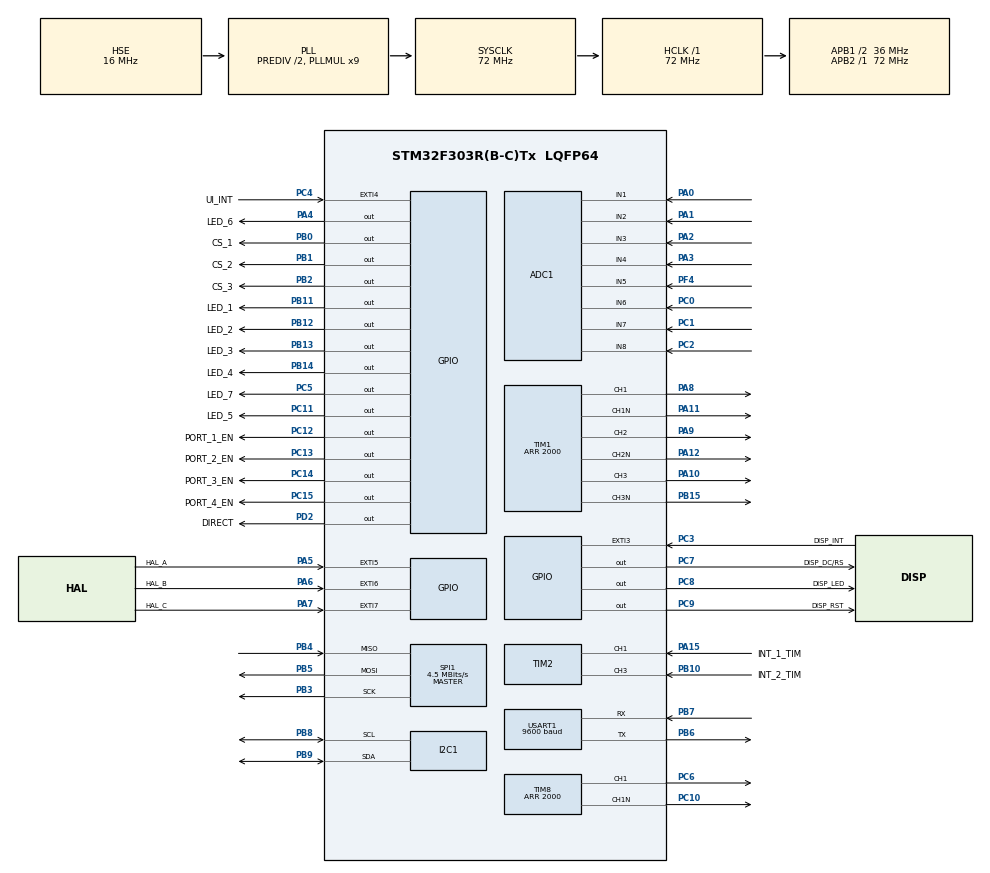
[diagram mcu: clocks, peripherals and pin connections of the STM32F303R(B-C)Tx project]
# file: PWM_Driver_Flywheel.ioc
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ADC1.Channel-0\#ChannelRegularConversion=ADC_CHANNEL_1
ADC1.NbrOfConversionFlag=1
ADC1.Offset-0\#ChannelRegularConversion=0
ADC1.OffsetNumber-0\#ChannelRegularConversion=ADC_OFFSET_NONE
ADC1.Rank-0\#ChannelRegularConversion=1
ADC1.SamplingTime-0\#ChannelRegularConversion=ADC_SAMPLETIME_1CYCLE_5
ADC1.master=1
Dma.Request0=USART1_RX
Dma.Request1=USART1_TX
Dma.USART1_RX.0.Direction=DMA_PERIPH_TO_MEMORY
Dma.USART1_RX.0.Instance=DMA1_Channel5
Dma.USART1_RX.0.MemDataAlignment=DMA_MDATAALIGN_BYTE
Dma.USART1_RX.0.MemInc=DMA_MINC_ENABLE
Dma.USART1_RX.0.Mode=DMA_NORMAL
Dma.USART1_RX.0.PeriphDataAlignment=DMA_PDATAALIGN_BYTE
Dma.USART1_RX.0.PeriphInc=DMA_PINC_DISABLE
Dma.USART1_RX.0.Priority=DMA_PRIORITY_LOW
Dma.USART1_TX.1.Direction=DMA_MEMORY_TO_PERIPH
Dma.USART1_TX.1.Instance=DMA1_Channel4
Dma.USART1_TX.1.MemDataAlignment=DMA_MDATAALIGN_BYTE
Dma.USART1_TX.1.MemInc=DMA_MINC_ENABLE
Dma.USART1_TX.1.Mode=DMA_NORMAL
Dma.USART1_TX.1.PeriphDataAlignment=DMA_PDATAALIGN_BYTE
Dma.USART1_TX.1.PeriphInc=DMA_PINC_DISABLE
Dma.USART1_TX.1.Priority=DMA_PRIORITY_LOW
I2C1.Timing=0x00201D2B
Mcu.Family=STM32F3
Mcu.Name=STM32F303R(B-C)Tx
Mcu.Package=LQFP64
NVIC.DMA1_Channel4_IRQn=true\:0\:0\:false\:false\:true\:false\:true\:true
NVIC.DMA1_Channel5_IRQn=true\:0\:0\:false\:false\:true\:false\:true\:true
NVIC.PriorityGroup=NVIC_PRIORITYGROUP_4
NVIC.TIM1_BRK_TIM15_IRQn=true\:0\:0\:false\:false\:true\:true\:true\:true
NVIC.TIM2_IRQn=true\:0\:0\:false\:false\:true\:true\:true\:true
NVIC.USART1_IRQn=true\:0\:0\:false\:false\:true\:true\:true\:true
PA0.Mode=IN1-Single-Ended
PA0.Signal=ADC1_IN1
PA1.Mode=IN2-Single-Ended
PA1.Signal=ADC1_IN2
PA10.Signal=S_TIM1_CH3
PA11.Mode=PWM Generation1 CH1 CH1N
PA11.Signal=TIM1_CH1N
PA12.Mode=PWM Generation2 CH2 CH2N
PA12.Signal=TIM1_CH2N
PA13.Mode=Serial_Wire
PA13.Signal=SYS_JTMS-SWDIO
PA14.Mode=Serial_Wire
PA14.Signal=SYS_JTCK-SWCLK
PA15.GPIO_Label=INT_1_TIM
PA15.Signal=S_TIM2_CH1_ETR
PA2.Mode=IN3-Single-Ended
PA2.Signal=ADC1_IN3
PA3.Mode=IN4-Single-Ended
PA3.Signal=ADC1_IN4
PA4.GPIO_Label=LED_6
PA4.Signal=GPIO_Output
PA5.GPIO_Label=HAL_A
PA5.Signal=GPXTI5
PA6.GPIO_Label=HAL_B
PA6.Signal=GPXTI6
PA7.GPIO_Label=HAL_C
PA7.Signal=GPXTI7
PA8.Signal=S_TIM1_CH1
PA9.Signal=S_TIM1_CH2
PB0.GPIO_Label=CS_1
PB0.Signal=GPIO_Output
PB1.GPIO_Label=CS_2
PB1.Signal=GPIO_Output
PB10.GPIO_Label=INT_2_TIM
PB10.Signal=S_TIM2_CH3
PB11.GPIO_Label=LED_1
PB11.Signal=GPIO_Output
PB12.GPIO_Label=LED_2
PB12.Signal=GPIO_Output
PB13.GPIO_Label=LED_3
PB13.Signal=GPIO_Output
PB14.GPIO_Label=LED_4
PB14.Signal=GPIO_Output
PB15.Mode=PWM Generation3 CH3 CH3N
PB15.Signal=TIM1_CH3N
PB2.GPIO_Label=CS_3
PB2.Signal=GPIO_Output
PB3.Mode=Full_Duplex_Master
PB3.Signal=SPI1_SCK
PB4.Mode=Full_Duplex_Master
PB4.Signal=SPI1_MISO
PB5.Mode=Full_Duplex_Master
PB5.Signal=SPI1_MOSI
PB6.Mode=Asynchronous
PB6.Signal=USART1_TX
PB7.Mode=Asynchronous
PB7.Signal=USART1_RX
PB8.Mode=I2C
PB8.Signal=I2C1_SCL
PB9.Mode=I2C
PB9.Signal=I2C1_SDA
PC0.Signal=ADCx_IN6
PC1.Signal=ADCx_IN7
PC10.Mode=PWM Generation1 CH1 CH1N
PC10.Signal=TIM8_CH1N
PC11.GPIO_Label=LED_5
PC11.Signal=GPIO_Output
PC12.GPIO_Label=PORT_1_EN
PC12.Signal=GPIO_Output
PC13.GPIO_Label=PORT_2_EN
PC13.Signal=GPIO_Output
PC14-OSC32_IN.GPIO_Label=PORT_3_EN
PC14-OSC32_IN.Signal=GPIO_Output
PC15-OSC32_OUT.GPIO_Label=PORT_4_EN
PC15-OSC32_OUT.Signal=GPIO_Output
PC2.Signal=ADCx_IN8
PC3.GPIO_Label=DISP_INT
PC3.Signal=GPXTI3
PC4.GPIO_Label=UI_INT
PC4.Signal=GPXTI4
PC5.GPIO_Label=LED_7
PC5.Signal=GPIO_Output
PC6.Signal=S_TIM8_CH1
PC7.GPIO_Label=DISP_DC/RS
PC7.Signal=GPIO_Output
PC8.GPIO_Label=DISP_LED
PC8.Signal=GPIO_Output
PC9.GPIO_Label=DISP_RST
PC9.Signal=GPIO_Output
PD2.GPIO_Label=DIRECT
PD2.Signal=GPIO_Output
PF0-OSC_IN.Mode=HSE-External-Oscillator
PF0-OSC_IN.Signal=RCC_OSC_IN
PF1-OSC_OUT.Mode=HSE-External-Oscillator
PF1-OSC_OUT.Signal=RCC_OSC_OUT
PF4.Mode=IN5-Single-Ended
PF4.Signal=ADC1_IN5
ProjectManager.HeapSize=0x200
ProjectManager.StackSize=0x400
ProjectManager.TargetToolchain=STM32CubeIDE
RCC.AHBFreq_Value=72000000
RCC.APB1CLKDivider=RCC_HCLK_DIV2
RCC.APB1Freq_Value=36000000
RCC.APB1TimFreq_Value=72000000
RCC.APB2Freq_Value=72000000
RCC.APB2TimFreq_Value=72000000
RCC.CortexFreq_Value=72000000
RCC.HCLKFreq_Value=72000000
RCC.HSE_VALUE=16000000
RCC.HSI_VALUE=8000000
RCC.LSE_VALUE=32768
RCC.PLLMUL=RCC_PLL_MUL9
RCC.PLLSourceVirtual=RCC_PLLSOURCE_HSE
RCC.RCC_PLLsource_Clock_Source_FROM_HSE=RCC_HSE_PREDIV_DIV2
RCC.SYSCLKFreq_VALUE=72000000
RCC.SYSCLKSourceVirtual=RCC_SYSCLKSOURCE_PLLCLK
RCC.USBFreq_Value=72000000
SH.ADCx_IN6.0=ADC1_IN6,IN6-Single-Ended
SH.ADCx_IN7.0=ADC1_IN7,IN7-Single-Ended
SH.ADCx_IN8.0=ADC1_IN8,IN8-Single-Ended
SH.S_TIM1_CH1.0=TIM1_CH1,PWM Generation1 CH1 CH1N
SH.S_TIM1_CH2.0=TIM1_CH2,PWM Generation2 CH2 CH2N
SH.S_TIM1_CH3.0=TIM1_CH3,PWM Generation3 CH3 CH3N
SH.S_TIM2_CH1_ETR.0=TIM2_CH1,Input_Capture1_from_TI1
SH.S_TIM2_CH3.0=TIM2_CH3,Input_Capture3_from_TI3
SH.S_TIM8_CH1.0=TIM8_CH1,PWM Generation1 CH1 CH1N
SPI1.BaudRatePrescaler=SPI_BAUDRATEPRESCALER_16
SPI1.CalculateBaudRate=4.5 MBits/s
SPI1.Direction=SPI_DIRECTION_2LINES
SPI1.Mode=SPI_MODE_MASTER
SPI1.VirtualType=VM_MASTER
TIM1.AutoReloadPreload=TIM_AUTORELOAD_PRELOAD_ENABLE
TIM1.Channel-PWM\ Generation1\ CH1\ CH1N=TIM_CHANNEL_1
TIM1.Channel-PWM\ Generation2\ CH2\ CH2N=TIM_CHANNEL_2
TIM1.Channel-PWM\ Generation3\ CH3\ CH3N=TIM_CHANNEL_3
TIM1.DeadTime=150
TIM1.OCNIdleState_1=TIM_OCNIDLESTATE_SET
TIM1.OCNIdleState_2=TIM_OCNIDLESTATE_SET
TIM1.Period=2000
TIM1.Pulse-PWM\ Generation1\ CH1\ CH1N=1000
TIM1.Pulse-PWM\ Generation2\ CH2\ CH2N=1000
TIM1.Pulse-PWM\ Generation3\ CH3\ CH3N=1000
TIM2.Channel-Input_Capture1_from_TI1=TIM_CHANNEL_1
TIM2.Channel-Input_Capture2_from_TI1_63=TIM_CHANNEL_2
TIM2.Channel-Input_Capture3_from_TI3=TIM_CHANNEL_3
TIM2.Channel-Input_Capture4_from_TI3_63=TIM_CHANNEL_4
TIM2.ICFilter_CH1=15
TIM2.ICFilter_CH3=15
TIM2.ICPolarity_CH1=TIM_INPUTCHANNELPOLARITY_FALLING
TIM2.ICPolarity_CH3=TIM_INPUTCHANNELPOLARITY_FALLING
TIM8.Channel-PWM\ Generation1\ CH1\ CH1N=TIM_CHANNEL_1
TIM8.Period=2000
TIM8.Pulse-PWM\ Generation1\ CH1\ CH1N=1000
USART1.BaudRate=9600
USART1.VirtualMode-Asynchronous=VM_ASYNC
VP_TIM15_VS_ClockSourceINT.Mode=Internal
VP_TIM1_VS_ClockSourceINT.Mode=Internal
VP_TIM2_VS_ClockSourceINT.Mode=Internal
VP_TIM2_VS_indirect_ch1.Mode=Input_Capture2_from_TI1_63
VP_TIM2_VS_indirect_ch3.Mode=Input_Capture4_from_TI3_63
VP_TIM3_VS_ClockSourceINT.Mode=Internal
VP_TIM8_VS_ClockSourceINT.Mode=Internal
board=custom

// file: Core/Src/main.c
/* USER CODE BEGIN Header */
/**
  ******************************************************************************
  * @file           : main.c
  * @brief          : Main program body
  ******************************************************************************
  * @attention
  *
  * Copyright (c) 2024 STMicroelectronics.
  * All rights reserved.
  *
  * This software is licensed under terms that can be found in the LICENSE file
  * in the root directory of this software component.
  * If no LICENSE file comes with this software, it is provided AS-IS.
  *
  ******************************************************************************
  */
/* USER CODE END Header */
#include "main.h"

/* USER CODE BEGIN Includes */
#include "stdbool.h"
#include "modbusDevice.h"
#include "modbusSlave.h"
#include "Registers_handler.h"
/* USER CODE END Includes */

/* USER CODE BEGIN PTD */

#define RX_BUFFER_SIZE 64
#define USART_TIMEOUT 900 // Таймаут в миллисекундах
#define ROTATE_TIME 2000
uint32_t lastActivityTime = 0;
 bool usartBusy = false;
 uint8_t rxFrame[64];
 uint8_t txFrame[255];
 uint8_t SLAVE_ID=2;
 uint16_t data_reg[16]={0,};
 uint16_t rcv_data_reg[16]={0,};
 uint8_t dicreteInputs=0;
 uint8_t coils=0;
 uint16_t timer1Freq=0;
 uint16_t timer3Freq=0;
 bool pwm_status=0;
 bool dataStates[16];
 bool coil_1=0;
 bool coil_2=0;
 bool coil_3=0;
 bool coil_4=0;

 uint32_t timerClockFreq = 72000000;
 uint32_t period=0;
 uint16_t f=0;
 uint32_t rpm=0;
 uint32_t moove=0;

/* USER CODE END PTD */

ADC_HandleTypeDef hadc1;

I2C_HandleTypeDef hi2c1;

SPI_HandleTypeDef hspi1;

TIM_HandleTypeDef htim1;
TIM_HandleTypeDef htim2;
TIM_HandleTypeDef htim3;
TIM_HandleTypeDef htim8;
TIM_HandleTypeDef htim15;

UART_HandleTypeDef huart1;
DMA_HandleTypeDef hdma_usart1_rx;
DMA_HandleTypeDef hdma_usart1_tx;

void SystemClock_Config(void);
static void MX_GPIO_Init(void);
static void MX_DMA_Init(void);
static void MX_TIM1_Init(void);
static void MX_TIM3_Init(void);
static void MX_TIM8_Init(void);
static void MX_TIM2_Init(void);
static void MX_USART1_UART_Init(void);
static void MX_I2C1_Init(void);
static void MX_ADC1_Init(void);
static void MX_SPI1_Init(void);
static void MX_TIM15_Init(void);
/* USER CODE BEGIN PFP */
void Check_USART1_Timeout(void);
void Reset_USART1(void);
uint16_t calculateTimerFrequency(TIM_TypeDef *TIMx, uint32_t timerClockFreq);
/* USER CODE END PFP */

int main(void)
{

  /* MCU Configuration--------------------------------------------------------*/

  /* Reset of all peripherals, Initializes the Flash interface and the Systick. */
  HAL_Init();

  /* Configure the system clock */
  SystemClock_Config();

  /* Initialize all configured peripherals */
  MX_GPIO_Init();
  MX_DMA_Init();
  MX_TIM1_Init();
  MX_TIM3_Init();
  MX_TIM8_Init();
  MX_TIM2_Init();
  MX_USART1_UART_Init();
  MX_I2C1_Init();
  MX_ADC1_Init();
  MX_SPI1_Init();
  MX_TIM15_Init();
  /* USER CODE BEGIN 2 */
   LED_1_ON;
   RX_2;

   /*
   HAL_TIM_PWM_Start(&htim1, TIM_CHANNEL_1);
   HAL_TIMEx_PWMN_Start(&htim1, TIM_CHANNEL_1);
   HAL_TIM_PWM_Start(&htim1, TIM_CHANNEL_2);
   HAL_TIMEx_PWMN_Start(&htim1, TIM_CHANNEL_2);
   HAL_TIM_PWM_Start(&htim1, TIM_CHANNEL_3);
   HAL_TIMEx_PWMN_Start(&htim1, TIM_CHANNEL_3);
   HAL_TIM_PWM_Start(&htim8, TIM_CHANNEL_1);
   HAL_TIMEx_PWMN_Start(&htim8, TIM_CHANNEL_1);
   */

   TIM1->ARR=2000;
   TIM8->ARR=2000;

   DRV_1_ON;
   DRV_2_ON;
   DRV_3_ON;
   DRV_4_ON;
   HAL_TIM_Base_Start_IT(&htim2);
   HAL_TIM_IC_Start_IT(&htim2, TIM_CHANNEL_1);
   HAL_TIM_IC_Start_IT(&htim2, TIM_CHANNEL_2);
   HAL_TIM_IC_Start_IT(&htim2, TIM_CHANNEL_3);
   HAL_TIM_IC_Start_IT(&htim2, TIM_CHANNEL_4);
   HAL_UARTEx_ReceiveToIdle_DMA(&huart1, rxFrame, RX_BUFFER_SIZE);
     __HAL_DMA_DISABLE_IT(&hdma_usart1_rx, DMA_IT_HT);
     HAL_TIM_Base_Start_IT(&htim15);
  /* USER CODE END 2 */

  /* Infinite loop */
  /* USER CODE BEGIN WHILE */
  while (1)
  {
	    TIM1->CCR1=rcv_data_reg[0];
	  	TIM1->CCR2=rcv_data_reg[1];
	  	TIM1->CCR3=rcv_data_reg[2];
	  	TIM8->CCR1=rcv_data_reg[3];
	  	TIM1->ARR= rcv_data_reg[4];
	  	TIM8->ARR= rcv_data_reg[4];
	    Check_USART1_Timeout();
	    data_reg[0]=calculateTimerFrequency(TIM1, timerClockFreq);
	    data_reg[1]=calculateTimerFrequency(TIM8, timerClockFreq);
	    data_reg[2]=rpm;

	    coil_1= (rcv_data_reg[7]>>1)&0x01;
	    coil_2= (rcv_data_reg[7]>>2)&0x01;
	    coil_3= (rcv_data_reg[7]>>3)&0x01;
	    coil_4= (rcv_data_reg[7]>>4)&0x01;
	    if(coil_1){LED_4_ON;}
	    if(!coil_1){LED_4_OFF;}
	    if(coil_2){LED_5_ON;}
	   	if(!coil_2){LED_5_OFF;}
	   	if(coil_3){LED_6_ON;}
	    if(!coil_3){LED_6_OFF;}
	    if(coil_4){LED_7_ON;}
	    if(!coil_4){LED_7_OFF;}

if((HAL_GetTick()-moove)>=ROTATE_TIME){rpm=0;}
    /* USER CODE END WHILE */

  }
}

void SystemClock_Config(void)
{
  RCC_OscInitTypeDef RCC_OscInitStruct = {0};
  RCC_ClkInitTypeDef RCC_ClkInitStruct = {0};
  RCC_PeriphCLKInitTypeDef PeriphClkInit = {0};

  /** Initializes the RCC Oscillators according to the specified parameters
  * in the RCC_OscInitTypeDef structure.
  */
  RCC_OscInitStruct.OscillatorType = RCC_OSCILLATORTYPE_HSI|RCC_OSCILLATORTYPE_HSE;
  RCC_OscInitStruct.HSEState = RCC_HSE_ON;
  RCC_OscInitStruct.HSEPredivValue = RCC_HSE_PREDIV_DIV2;
  RCC_OscInitStruct.HSIState = RCC_HSI_ON;
  RCC_OscInitStruct.HSICalibrationValue = RCC_HSICALIBRATION_DEFAULT;
  RCC_OscInitStruct.PLL.PLLState = RCC_PLL_ON;
  RCC_OscInitStruct.PLL.PLLSource = RCC_PLLSOURCE_HSE;
  RCC_OscInitStruct.PLL.PLLMUL = RCC_PLL_MUL9;
  if (HAL_RCC_OscConfig(&RCC_OscInitStruct) != HAL_OK)
  {
    Error_Handler();
  }

  /** Initializes the CPU, AHB and APB buses clocks
  */
  RCC_ClkInitStruct.ClockType = RCC_CLOCKTYPE_HCLK|RCC_CLOCKTYPE_SYSCLK
                              |RCC_CLOCKTYPE_PCLK1|RCC_CLOCKTYPE_PCLK2;
  RCC_ClkInitStruct.SYSCLKSource = RCC_SYSCLKSOURCE_PLLCLK;
  RCC_ClkInitStruct.AHBCLKDivider = RCC_SYSCLK_DIV1;
  RCC_ClkInitStruct.APB1CLKDivider = RCC_HCLK_DIV2;
  RCC_ClkInitStruct.APB2CLKDivider = RCC_HCLK_DIV1;

  if (HAL_RCC_ClockConfig(&RCC_ClkInitStruct, FLASH_LATENCY_2) != HAL_OK)
  {
    Error_Handler();
  }
  PeriphClkInit.PeriphClockSelection = RCC_PERIPHCLK_USART1|RCC_PERIPHCLK_I2C1
                              |RCC_PERIPHCLK_TIM1|RCC_PERIPHCLK_TIM8
                              |RCC_PERIPHCLK_ADC12;
  PeriphClkInit.Usart1ClockSelection = RCC_USART1CLKSOURCE_PCLK2;
  PeriphClkInit.Adc12ClockSelection = RCC_ADC12PLLCLK_DIV1;
  PeriphClkInit.I2c1ClockSelection = RCC_I2C1CLKSOURCE_HSI;
  PeriphClkInit.Tim1ClockSelection = RCC_TIM1CLK_HCLK;
  PeriphClkInit.Tim8ClockSelection = RCC_TIM8CLK_HCLK;
  if (HAL_RCCEx_PeriphCLKConfig(&PeriphClkInit) != HAL_OK)
  {
    Error_Handler();
  }
}

static void MX_ADC1_Init(void)
{

  ADC_MultiModeTypeDef multimode = {0};
  ADC_ChannelConfTypeDef sConfig = {0};

  /** Common config
  */
  hadc1.Instance = ADC1;
  hadc1.Init.ClockPrescaler = ADC_CLOCK_ASYNC_DIV1;
  hadc1.Init.Resolution = ADC_RESOLUTION_12B;
  hadc1.Init.ScanConvMode = ADC_SCAN_DISABLE;
  hadc1.Init.ContinuousConvMode = DISABLE;
  hadc1.Init.DiscontinuousConvMode = DISABLE;
  hadc1.Init.ExternalTrigConvEdge = ADC_EXTERNALTRIGCONVEDGE_NONE;
  hadc1.Init.ExternalTrigConv = ADC_SOFTWARE_START;
  hadc1.Init.DataAlign = ADC_DATAALIGN_RIGHT;
  hadc1.Init.NbrOfConversion = 1;
  hadc1.Init.DMAContinuousRequests = DISABLE;
  hadc1.Init.EOCSelection = ADC_EOC_SINGLE_CONV;
  hadc1.Init.LowPowerAutoWait = DISABLE;
  hadc1.Init.Overrun = ADC_OVR_DATA_OVERWRITTEN;
  if (HAL_ADC_Init(&hadc1) != HAL_OK)
  {
    Error_Handler();
  }

  /** Configure the ADC multi-mode
  */
  multimode.Mode = ADC_MODE_INDEPENDENT;
  if (HAL_ADCEx_MultiModeConfigChannel(&hadc1, &multimode) != HAL_OK)
  {
    Error_Handler();
  }

  /** Configure Regular Channel
  */
  sConfig.Channel = ADC_CHANNEL_1;
  sConfig.Rank = ADC_REGULAR_RANK_1;
  sConfig.SingleDiff = ADC_SINGLE_ENDED;
  sConfig.SamplingTime = ADC_SAMPLETIME_1CYCLE_5;
  sConfig.OffsetNumber = ADC_OFFSET_NONE;
  sConfig.Offset = 0;
  if (HAL_ADC_ConfigChannel(&hadc1, &sConfig) != HAL_OK)
  {
    Error_Handler();
  }

}

static void MX_I2C1_Init(void)
{

  hi2c1.Instance = I2C1;
  hi2c1.Init.Timing = 0x00201D2B;
  hi2c1.Init.OwnAddress1 = 0;
  hi2c1.Init.AddressingMode = I2C_ADDRESSINGMODE_7BIT;
  hi2c1.Init.DualAddressMode = I2C_DUALADDRESS_DISABLE;
  hi2c1.Init.OwnAddress2 = 0;
  hi2c1.Init.OwnAddress2Masks = I2C_OA2_NOMASK;
  hi2c1.Init.GeneralCallMode = I2C_GENERALCALL_DISABLE;
  hi2c1.Init.NoStretchMode = I2C_NOSTRETCH_DISABLE;
  if (HAL_I2C_Init(&hi2c1) != HAL_OK)
  {
    Error_Handler();
  }

  /** Configure Analogue filter
  */
  if (HAL_I2CEx_ConfigAnalogFilter(&hi2c1, I2C_ANALOGFILTER_ENABLE) != HAL_OK)
  {
    Error_Handler();
  }

  /** Configure Digital filter
  */
  if (HAL_I2CEx_ConfigDigitalFilter(&hi2c1, 0) != HAL_OK)
  {
    Error_Handler();
  }

}

static void MX_SPI1_Init(void)
{

  /* SPI1 parameter configuration*/
  hspi1.Instance = SPI1;
  hspi1.Init.Mode = SPI_MODE_MASTER;
  hspi1.Init.Direction = SPI_DIRECTION_2LINES;
  hspi1.Init.DataSize = SPI_DATASIZE_4BIT;
  hspi1.Init.CLKPolarity = SPI_POLARITY_LOW;
  hspi1.Init.CLKPhase = SPI_PHASE_1EDGE;
  hspi1.Init.NSS = SPI_NSS_SOFT;
  hspi1.Init.BaudRatePrescaler = SPI_BAUDRATEPRESCALER_16;
  hspi1.Init.FirstBit = SPI_FIRSTBIT_MSB;
  hspi1.Init.TIMode = SPI_TIMODE_DISABLE;
  hspi1.Init.CRCCalculation = SPI_CRCCALCULATION_DISABLE;
  hspi1.Init.CRCPolynomial = 7;
  hspi1.Init.CRCLength = SPI_CRC_LENGTH_DATASIZE;
  hspi1.Init.NSSPMode = SPI_NSS_PULSE_ENABLE;
  if (HAL_SPI_Init(&hspi1) != HAL_OK)
  {
    Error_Handler();
  }

}

static void MX_TIM1_Init(void)
{

  TIM_ClockConfigTypeDef sClockSourceConfig = {0};
  TIM_MasterConfigTypeDef sMasterConfig = {0};
  TIM_OC_InitTypeDef sConfigOC = {0};
  TIM_BreakDeadTimeConfigTypeDef sBreakDeadTimeConfig = {0};

  htim1.Instance = TIM1;
  htim1.Init.Prescaler = 0;
  htim1.Init.CounterMode = TIM_COUNTERMODE_UP;
  htim1.Init.Period = 2000;
  htim1.Init.ClockDivision = TIM_CLOCKDIVISION_DIV1;
  htim1.Init.RepetitionCounter = 0;
  htim1.Init.AutoReloadPreload = TIM_AUTORELOAD_PRELOAD_ENABLE;
  if (HAL_TIM_Base_Init(&htim1) != HAL_OK)
  {
    Error_Handler();
  }
  sClockSourceConfig.ClockSource = TIM_CLOCKSOURCE_INTERNAL;
  if (HAL_TIM_ConfigClockSource(&htim1, &sClockSourceConfig) != HAL_OK)
  {
    Error_Handler();
  }
  if (HAL_TIM_PWM_Init(&htim1) != HAL_OK)
  {
    Error_Handler();
  }
  sMasterConfig.MasterOutputTrigger = TIM_TRGO_RESET;
  sMasterConfig.MasterOutputTrigger2 = TIM_TRGO2_RESET;
  sMasterConfig.MasterSlaveMode = TIM_MASTERSLAVEMODE_DISABLE;
  if (HAL_TIMEx_MasterConfigSynchronization(&htim1, &sMasterConfig) != HAL_OK)
  {
    Error_Handler();
  }
  sConfigOC.OCMode = TIM_OCMODE_PWM1;
  sConfigOC.Pulse = 1000;
  sConfigOC.OCPolarity = TIM_OCPOLARITY_HIGH;
  sConfigOC.OCNPolarity = TIM_OCNPOLARITY_HIGH;
  sConfigOC.OCFastMode = TIM_OCFAST_DISABLE;
  sConfigOC.OCIdleState = TIM_OCIDLESTATE_RESET;
  sConfigOC.OCNIdleState = TIM_OCNIDLESTATE_SET;
  if (HAL_TIM_PWM_ConfigChannel(&htim1, &sConfigOC, TIM_CHANNEL_1) != HAL_OK)
  {
    Error_Handler();
  }
  if (HAL_TIM_PWM_ConfigChannel(&htim1, &sConfigOC, TIM_CHANNEL_2) != HAL_OK)
  {
    Error_Handler();
  }
  sConfigOC.OCNIdleState = TIM_OCNIDLESTATE_RESET;
  if (HAL_TIM_PWM_ConfigChannel(&htim1, &sConfigOC, TIM_CHANNEL_3) != HAL_OK)
  {
    Error_Handler();
  }
  sBreakDeadTimeConfig.OffStateRunMode = TIM_OSSR_DISABLE;
  sBreakDeadTimeConfig.OffStateIDLEMode = TIM_OSSI_DISABLE;
  sBreakDeadTimeConfig.LockLevel = TIM_LOCKLEVEL_OFF;
  sBreakDeadTimeConfig.DeadTime = 150;
  sBreakDeadTimeConfig.BreakState = TIM_BREAK_DISABLE;
  sBreakDeadTimeConfig.BreakPolarity = TIM_BREAKPOLARITY_HIGH;
  sBreakDeadTimeConfig.BreakFilter = 0;
  sBreakDeadTimeConfig.Break2State = TIM_BREAK2_DISABLE;
  sBreakDeadTimeConfig.Break2Polarity = TIM_BREAK2POLARITY_HIGH;
  sBreakDeadTimeConfig.Break2Filter = 0;
  sBreakDeadTimeConfig.AutomaticOutput = TIM_AUTOMATICOUTPUT_DISABLE;
  if (HAL_TIMEx_ConfigBreakDeadTime(&htim1, &sBreakDeadTimeConfig) != HAL_OK)
  {
    Error_Handler();
  }
  HAL_TIM_MspPostInit(&htim1);

}

static void MX_TIM2_Init(void)
{

  TIM_ClockConfigTypeDef sClockSourceConfig = {0};
  TIM_MasterConfigTypeDef sMasterConfig = {0};
  TIM_IC_InitTypeDef sConfigIC = {0};

  htim2.Instance = TIM2;
  htim2.Init.Prescaler = 0;
  htim2.Init.CounterMode = TIM_COUNTERMODE_UP;
  htim2.Init.Period = 4294967295;
  htim2.Init.ClockDivision = TIM_CLOCKDIVISION_DIV1;
  htim2.Init.AutoReloadPreload = TIM_AUTORELOAD_PRELOAD_DISABLE;
  if (HAL_TIM_Base_Init(&htim2) != HAL_OK)
  {
    Error_Handler();
  }
  sClockSourceConfig.ClockSource = TIM_CLOCKSOURCE_INTERNAL;
  if (HAL_TIM_ConfigClockSource(&htim2, &sClockSourceConfig) != HAL_OK)
  {
    Error_Handler();
  }
  if (HAL_TIM_IC_Init(&htim2) != HAL_OK)
  {
    Error_Handler();
  }
  sMasterConfig.MasterOutputTrigger = TIM_TRGO_RESET;
  sMasterConfig.MasterSlaveMode = TIM_MASTERSLAVEMODE_DISABLE;
  if (HAL_TIMEx_MasterConfigSynchronization(&htim2, &sMasterConfig) != HAL_OK)
  {
    Error_Handler();
  }
  sConfigIC.ICPolarity = TIM_INPUTCHANNELPOLARITY_FALLING;
  sConfigIC.ICSelection = TIM_ICSELECTION_DIRECTTI;
  sConfigIC.ICPrescaler = TIM_ICPSC_DIV1;
  sConfigIC.ICFilter = 15;
  if (HAL_TIM_IC_ConfigChannel(&htim2, &sConfigIC, TIM_CHANNEL_1) != HAL_OK)
  {
    Error_Handler();
  }
  sConfigIC.ICPolarity = TIM_INPUTCHANNELPOLARITY_RISING;
  sConfigIC.ICSelection = TIM_ICSELECTION_INDIRECTTI;
  sConfigIC.ICFilter = 0;
  if (HAL_TIM_IC_ConfigChannel(&htim2, &sConfigIC, TIM_CHANNEL_2) != HAL_OK)
  {
    Error_Handler();
  }
  sConfigIC.ICPolarity = TIM_INPUTCHANNELPOLARITY_FALLING;
  sConfigIC.ICSelection = TIM_ICSELECTION_DIRECTTI;
  sConfigIC.ICFilter = 15;
  if (HAL_TIM_IC_ConfigChannel(&htim2, &sConfigIC, TIM_CHANNEL_3) != HAL_OK)
  {
    Error_Handler();
  }
  sConfigIC.ICPolarity = TIM_INPUTCHANNELPOLARITY_RISING;
  sConfigIC.ICSelection = TIM_ICSELECTION_INDIRECTTI;
  sConfigIC.ICFilter = 0;
  if (HAL_TIM_IC_ConfigChannel(&htim2, &sConfigIC, TIM_CHANNEL_4) != HAL_OK)
  {
    Error_Handler();
  }

}

static void MX_TIM3_Init(void)
{

  TIM_ClockConfigTypeDef sClockSourceConfig = {0};
  TIM_MasterConfigTypeDef sMasterConfig = {0};

  htim3.Instance = TIM3;
  htim3.Init.Prescaler = 0;
  htim3.Init.CounterMode = TIM_COUNTERMODE_UP;
  htim3.Init.Period = 65535;
  htim3.Init.ClockDivision = TIM_CLOCKDIVISION_DIV1;
  htim3.Init.AutoReloadPreload = TIM_AUTORELOAD_PRELOAD_DISABLE;
  if (HAL_TIM_Base_Init(&htim3) != HAL_OK)
  {
    Error_Handler();
  }
  sClockSourceConfig.ClockSource = TIM_CLOCKSOURCE_INTERNAL;
  if (HAL_TIM_ConfigClockSource(&htim3, &sClockSourceConfig) != HAL_OK)
  {
    Error_Handler();
  }
  sMasterConfig.MasterOutputTrigger = TIM_TRGO_RESET;
  sMasterConfig.MasterSlaveMode = TIM_MASTERSLAVEMODE_DISABLE;
  if (HAL_TIMEx_MasterConfigSynchronization(&htim3, &sMasterConfig) != HAL_OK)
  {
    Error_Handler();
  }

}

static void MX_TIM8_Init(void)
{

  TIM_ClockConfigTypeDef sClockSourceConfig = {0};
  TIM_MasterConfigTypeDef sMasterConfig = {0};
  TIM_OC_InitTypeDef sConfigOC = {0};
  TIM_BreakDeadTimeConfigTypeDef sBreakDeadTimeConfig = {0};

  htim8.Instance = TIM8;
  htim8.Init.Prescaler = 0;
  htim8.Init.CounterMode = TIM_COUNTERMODE_UP;
  htim8.Init.Period = 2000;
  htim8.Init.ClockDivision = TIM_CLOCKDIVISION_DIV1;
  htim8.Init.RepetitionCounter = 0;
  htim8.Init.AutoReloadPreload = TIM_AUTORELOAD_PRELOAD_DISABLE;
  if (HAL_TIM_Base_Init(&htim8) != HAL_OK)
  {
    Error_Handler();
  }
  sClockSourceConfig.ClockSource = TIM_CLOCKSOURCE_INTERNAL;
  if (HAL_TIM_ConfigClockSource(&htim8, &sClockSourceConfig) != HAL_OK)
  {
    Error_Handler();
  }
  if (HAL_TIM_PWM_Init(&htim8) != HAL_OK)
  {
    Error_Handler();
  }
  sMasterConfig.MasterOutputTrigger = TIM_TRGO_RESET;
  sMasterConfig.MasterOutputTrigger2 = TIM_TRGO2_RESET;
  sMasterConfig.MasterSlaveMode = TIM_MASTERSLAVEMODE_DISABLE;
  if (HAL_TIMEx_MasterConfigSynchronization(&htim8, &sMasterConfig) != HAL_OK)
  {
    Error_Handler();
  }
  sConfigOC.OCMode = TIM_OCMODE_PWM1;
  sConfigOC.Pulse = 1000;
  sConfigOC.OCPolarity = TIM_OCPOLARITY_HIGH;
  sConfigOC.OCNPolarity = TIM_OCNPOLARITY_HIGH;
  sConfigOC.OCFastMode = TIM_OCFAST_DISABLE;
  sConfigOC.OCIdleState = TIM_OCIDLESTATE_RESET;
  sConfigOC.OCNIdleState = TIM_OCNIDLESTATE_RESET;
  if (HAL_TIM_PWM_ConfigChannel(&htim8, &sConfigOC, TIM_CHANNEL_1) != HAL_OK)
  {
    Error_Handler();
  }
  sBreakDeadTimeConfig.OffStateRunMode = TIM_OSSR_DISABLE;
  sBreakDeadTimeConfig.OffStateIDLEMode = TIM_OSSI_DISABLE;
  sBreakDeadTimeConfig.LockLevel = TIM_LOCKLEVEL_OFF;
  sBreakDeadTimeConfig.DeadTime = 0;
  sBreakDeadTimeConfig.BreakState = TIM_BREAK_DISABLE;
  sBreakDeadTimeConfig.BreakPolarity = TIM_BREAKPOLARITY_HIGH;
  sBreakDeadTimeConfig.BreakFilter = 0;
  sBreakDeadTimeConfig.Break2State = TIM_BREAK2_DISABLE;
  sBreakDeadTimeConfig.Break2Polarity = TIM_BREAK2POLARITY_HIGH;
  sBreakDeadTimeConfig.Break2Filter = 0;
  sBreakDeadTimeConfig.AutomaticOutput = TIM_AUTOMATICOUTPUT_DISABLE;
  if (HAL_TIMEx_ConfigBreakDeadTime(&htim8, &sBreakDeadTimeConfig) != HAL_OK)
  {
    Error_Handler();
  }
  HAL_TIM_MspPostInit(&htim8);

}

static void MX_TIM15_Init(void)
{

  TIM_ClockConfigTypeDef sClockSourceConfig = {0};
  TIM_MasterConfigTypeDef sMasterConfig = {0};

  htim15.Instance = TIM15;
  htim15.Init.Prescaler = 0;
  htim15.Init.CounterMode = TIM_COUNTERMODE_UP;
  htim15.Init.Period = 65535;
  htim15.Init.ClockDivision = TIM_CLOCKDIVISION_DIV1;
  htim15.Init.RepetitionCounter = 0;
  htim15.Init.AutoReloadPreload = TIM_AUTORELOAD_PRELOAD_DISABLE;
  if (HAL_TIM_Base_Init(&htim15) != HAL_OK)
  {
    Error_Handler();
  }
  sClockSourceConfig.ClockSource = TIM_CLOCKSOURCE_INTERNAL;
  if (HAL_TIM_ConfigClockSource(&htim15, &sClockSourceConfig) != HAL_OK)
  {
    Error_Handler();
  }
  sMasterConfig.MasterOutputTrigger = TIM_TRGO_RESET;
  sMasterConfig.MasterSlaveMode = TIM_MASTERSLAVEMODE_DISABLE;
  if (HAL_TIMEx_MasterConfigSynchronization(&htim15, &sMasterConfig) != HAL_OK)
  {
    Error_Handler();
  }

}

static void MX_USART1_UART_Init(void)
{

  huart1.Instance = USART1;
  huart1.Init.BaudRate = 9600;
  huart1.Init.WordLength = UART_WORDLENGTH_8B;
  huart1.Init.StopBits = UART_STOPBITS_1;
  huart1.Init.Parity = UART_PARITY_NONE;
  huart1.Init.Mode = UART_MODE_TX_RX;
  huart1.Init.HwFlowCtl = UART_HWCONTROL_NONE;
  huart1.Init.OverSampling = UART_OVERSAMPLING_16;
  huart1.Init.OneBitSampling = UART_ONE_BIT_SAMPLE_DISABLE;
  huart1.AdvancedInit.AdvFeatureInit = UART_ADVFEATURE_NO_INIT;
  if (HAL_UART_Init(&huart1) != HAL_OK)
  {
    Error_Handler();
  }

}

static void MX_DMA_Init(void)
{

  /* DMA controller clock enable */
  __HAL_RCC_DMA1_CLK_ENABLE();

  /* DMA interrupt init */
  /* DMA1_Channel4_IRQn interrupt configuration */
  HAL_NVIC_SetPriority(DMA1_Channel4_IRQn, 0, 0);
  HAL_NVIC_EnableIRQ(DMA1_Channel4_IRQn);
  /* DMA1_Channel5_IRQn interrupt configuration */
  HAL_NVIC_SetPriority(DMA1_Channel5_IRQn, 0, 0);
  HAL_NVIC_EnableIRQ(DMA1_Channel5_IRQn);

}

static void MX_GPIO_Init(void)
{
  GPIO_InitTypeDef GPIO_InitStruct = {0};

  /* GPIO Ports Clock Enable */
  __HAL_RCC_GPIOC_CLK_ENABLE();
  __HAL_RCC_GPIOF_CLK_ENABLE();
  __HAL_RCC_GPIOA_CLK_ENABLE();
  __HAL_RCC_GPIOB_CLK_ENABLE();
  __HAL_RCC_GPIOD_CLK_ENABLE();

  /*Configure GPIO pin Output Level */
  HAL_GPIO_WritePin(GPIOC, PORT_2_EN_Pin|PORT_3_EN_Pin|PORT_4_EN_Pin|LED_7_Pin
                          |DISP_DC_RS_Pin|DISP_LED_Pin|DISP_RST_Pin|LED_5_Pin
                          |PORT_1_EN_Pin, GPIO_PIN_RESET);

  /*Configure GPIO pin Output Level */
  HAL_GPIO_WritePin(LED_6_GPIO_Port, LED_6_Pin, GPIO_PIN_RESET);

  /*Configure GPIO pin Output Level */
  HAL_GPIO_WritePin(GPIOB, CS_1_Pin|CS_2_Pin|CS_3_Pin|LED_1_Pin
                          |LED_2_Pin|LED_3_Pin|LED_4_Pin, GPIO_PIN_RESET);

  /*Configure GPIO pin Output Level */
  HAL_GPIO_WritePin(DIRECT_GPIO_Port, DIRECT_Pin, GPIO_PIN_RESET);

  /*Configure GPIO pins : PORT_2_EN_Pin PORT_3_EN_Pin PORT_4_EN_Pin LED_7_Pin
                           DISP_DC_RS_Pin DISP_LED_Pin DISP_RST_Pin LED_5_Pin
                           PORT_1_EN_Pin */
  GPIO_InitStruct.Pin = PORT_2_EN_Pin|PORT_3_EN_Pin|PORT_4_EN_Pin|LED_7_Pin
                          |DISP_DC_RS_Pin|DISP_LED_Pin|DISP_RST_Pin|LED_5_Pin
                          |PORT_1_EN_Pin;
  GPIO_InitStruct.Mode = GPIO_MODE_OUTPUT_PP;
  GPIO_InitStruct.Pull = GPIO_NOPULL;
  GPIO_InitStruct.Speed = GPIO_SPEED_FREQ_LOW;
  HAL_GPIO_Init(GPIOC, &GPIO_InitStruct);

  /*Configure GPIO pins : DISP_INT_Pin UI_INT_Pin */
  GPIO_InitStruct.Pin = DISP_INT_Pin|UI_INT_Pin;
  GPIO_InitStruct.Mode = GPIO_MODE_IT_RISING;
  GPIO_InitStruct.Pull = GPIO_NOPULL;
  HAL_GPIO_Init(GPIOC, &GPIO_InitStruct);

  /*Configure GPIO pin : LED_6_Pin */
  GPIO_InitStruct.Pin = LED_6_Pin;
  GPIO_InitStruct.Mode = GPIO_MODE_OUTPUT_PP;
  GPIO_InitStruct.Pull = GPIO_NOPULL;
  GPIO_InitStruct.Speed = GPIO_SPEED_FREQ_LOW;
  HAL_GPIO_Init(LED_6_GPIO_Port, &GPIO_InitStruct);

  /*Configure GPIO pins : HAL_A_Pin HAL_B_Pin HAL_C_Pin */
  GPIO_InitStruct.Pin = HAL_A_Pin|HAL_B_Pin|HAL_C_Pin;
  GPIO_InitStruct.Mode = GPIO_MODE_IT_RISING;
  GPIO_InitStruct.Pull = GPIO_NOPULL;
  HAL_GPIO_Init(GPIOA, &GPIO_InitStruct);

  /*Configure GPIO pins : CS_1_Pin CS_2_Pin CS_3_Pin LED_1_Pin
                           LED_2_Pin LED_3_Pin LED_4_Pin */
  GPIO_InitStruct.Pin = CS_1_Pin|CS_2_Pin|CS_3_Pin|LED_1_Pin
                          |LED_2_Pin|LED_3_Pin|LED_4_Pin;
  GPIO_InitStruct.Mode = GPIO_MODE_OUTPUT_PP;
  GPIO_InitStruct.Pull = GPIO_NOPULL;
  GPIO_InitStruct.Speed = GPIO_SPEED_FREQ_LOW;
  HAL_GPIO_Init(GPIOB, &GPIO_InitStruct);

  /*Configure GPIO pin : DIRECT_Pin */
  GPIO_InitStruct.Pin = DIRECT_Pin;
  GPIO_InitStruct.Mode = GPIO_MODE_OUTPUT_PP;
  GPIO_InitStruct.Pull = GPIO_NOPULL;
  GPIO_InitStruct.Speed = GPIO_SPEED_FREQ_LOW;
  HAL_GPIO_Init(DIRECT_GPIO_Port, &GPIO_InitStruct);

}

/* USER CODE BEGIN 4 */

// Функция расчёта частоты таймера
uint16_t calculateTimerFrequency(TIM_TypeDef *TIMx, uint32_t timerClockFreq) {
    uint32_t arr = TIMx->ARR;  // Значение ARR
    return timerClockFreq / (arr + 1);
}

void HAL_TIM_IC_CaptureCallback(TIM_HandleTypeDef *htim)
{
    if (htim->Instance == TIM2)
    {
        if(htim->Channel == HAL_TIM_ACTIVE_CHANNEL_1)
        {

             LED_2_ON;

        	period = 0;

            TIM2->CNT = 0;
            period = HAL_TIM_ReadCapturedValue(&htim2, TIM_CHANNEL_1);
          //  pulseWidth = HAL_TIM_ReadCapturedValue(&htim2, TIM_CHANNEL_2);

            rpm= 1080000000/period;
            f=270000000/period;

             HAL_TIMEx_PWMN_Stop(&htim1, TIM_CHANNEL_1);
             HAL_TIM_PWM_Stop(&htim1, TIM_CHANNEL_2);

             HAL_TIMEx_PWMN_Start(&htim1, TIM_CHANNEL_2);
             HAL_TIM_PWM_Start(&htim1, TIM_CHANNEL_1);
        }

        if(htim->Channel == HAL_TIM_ACTIVE_CHANNEL_2)
        {
             LED_2_OFF;
             HAL_TIM_PWM_Stop(&htim1, TIM_CHANNEL_1);
             HAL_TIMEx_PWMN_Stop(&htim1, TIM_CHANNEL_2);

             HAL_TIMEx_PWMN_Start(&htim1, TIM_CHANNEL_1);
             HAL_TIM_PWM_Start(&htim1, TIM_CHANNEL_2);
             moove = HAL_GetTick();

        }

        if(htim->Channel == HAL_TIM_ACTIVE_CHANNEL_3)
        {
          LED_3_ON;
          HAL_TIMEx_PWMN_Stop(&htim8, TIM_CHANNEL_1);
          HAL_TIM_PWM_Stop(&htim1, TIM_CHANNEL_3);

          HAL_TIMEx_PWMN_Start(&htim1, TIM_CHANNEL_3);
          HAL_TIM_PWM_Start(&htim8, TIM_CHANNEL_1);

        }

        if(htim->Channel == HAL_TIM_ACTIVE_CHANNEL_4)
        {
           LED_3_OFF;
           HAL_TIMEx_PWMN_Stop(&htim1, TIM_CHANNEL_3);
           HAL_TIM_PWM_Stop(&htim8, TIM_CHANNEL_1);

           HAL_TIM_PWM_Start(&htim1, TIM_CHANNEL_3);
           HAL_TIMEx_PWMN_Start(&htim8, TIM_CHANNEL_1);

        }
    }
}

void HAL_UART_TxCpltCallback(UART_HandleTypeDef *huart)

{

	    RX_2;
	    lastActivityTime = HAL_GetTick();
	    HAL_UARTEx_ReceiveToIdle_DMA(&huart1, rxFrame,RX_BUFFER_SIZE);
	    __HAL_UART_ENABLE_IT(&huart1, UART_IT_IDLE);
	    __HAL_DMA_DISABLE_IT(&hdma_usart1_rx, DMA_IT_HT);
	    HAL_TIM_Base_Start_IT(&htim15);
	    LED_1_OFF;
}

void HAL_UARTEx_RxEventCallback(UART_HandleTypeDef *huart, uint16_t Size)
{
	if (huart->Instance == USART1)
	{

        LED_1_ON;
        HAL_TIM_Base_Stop_IT(&htim15);
		lastActivityTime = HAL_GetTick();
	    __HAL_UART_DISABLE_IT(&huart1, UART_IT_IDLE);
	    HAL_DMA_Abort(&hdma_usart1_rx);
	    Registers_handler(rxFrame, data_reg, rcv_data_reg,Size);
	    HAL_TIM_Base_Start_IT(&htim15);
	}
}

void Check_USART1_Timeout(void)
 {
     if (HAL_GetTick() - lastActivityTime >= USART_TIMEOUT)
     {

         Reset_USART1();
         RX_2;
         LED_1_OFF;
     }
 }

void Reset_USART1(void) {
    // Включить индикатор (если требуется)
    LED_1_ON;

    // Остановить передачу и прием по DMA
    if (HAL_UART_DMAStop(&huart1) != HAL_OK) {
        // Обработка ошибки
    }

    // Прерывание активных DMA транзакций
    if (hdma_usart1_rx.Instance != NULL) {
        HAL_DMA_Abort(&hdma_usart1_rx);
    }
    if (hdma_usart1_tx.Instance != NULL) {
        HAL_DMA_Abort(&hdma_usart1_tx);
    }

    // Отключить все прерывания UART
    __HAL_UART_DISABLE_IT(&huart1, UART_IT_IDLE | UART_IT_TC | UART_IT_RXNE);

    // Сбросить флаги ошибок UART
    __HAL_UART_CLEAR_OREFLAG(&huart1);
    __HAL_UART_CLEAR_FEFLAG(&huart1);

    // Сбросить периферийный модуль USART1
    __HAL_RCC_USART1_FORCE_RESET();
    HAL_Delay(1); // Задержка для завершения сброса
    __HAL_RCC_USART1_RELEASE_RESET();

    // Деинициализация UART
    if (HAL_UART_DeInit(&huart1) != HAL_OK) {
        // Обработка ошибки
    }

    // Повторная инициализация UART
    MX_USART1_UART_Init();

    // Повторная настройка DMA
    MX_DMA_Init();

    // Настройка UART для приема данных с использованием DMA
    if (HAL_UARTEx_ReceiveToIdle_DMA(&huart1, rxFrame, RX_BUFFER_SIZE) != HAL_OK) {
        // Обработка ошибки
    }
    __HAL_DMA_DISABLE_IT(&hdma_usart1_rx, DMA_IT_HT);

    // Сброс параметров и таймеров
    lastActivityTime = HAL_GetTick();

}

/* USER CODE END 4 */

void Error_Handler(void)
{
  __disable_irq();
  while (1)
  {
  }
}
